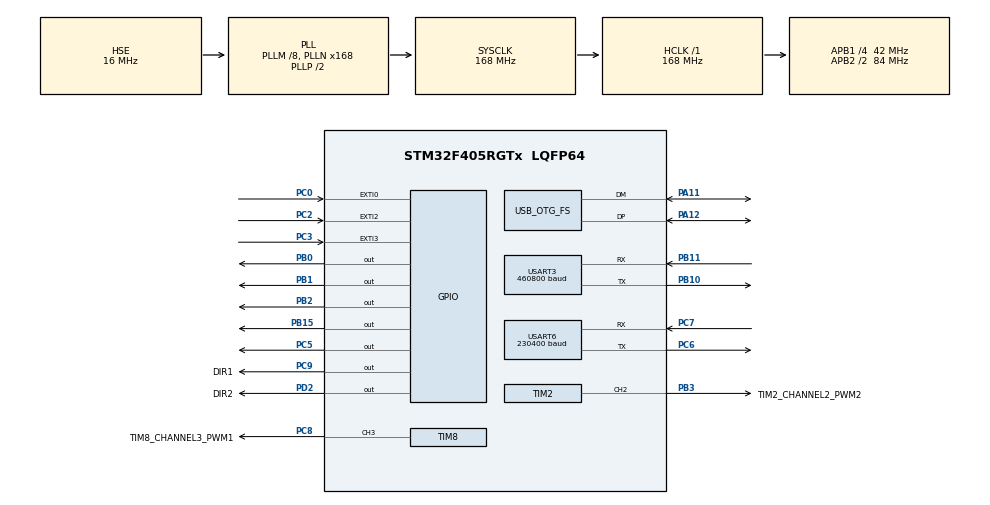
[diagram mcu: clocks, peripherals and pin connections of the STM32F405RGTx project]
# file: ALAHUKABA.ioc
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Dma.Request0=USART3_RX
Dma.Request1=USART3_TX
Dma.Request2=USART6_TX
Dma.Request3=USART6_RX
Dma.USART3_RX.0.Direction=DMA_PERIPH_TO_MEMORY
Dma.USART3_RX.0.FIFOMode=DMA_FIFOMODE_DISABLE
Dma.USART3_RX.0.Instance=DMA1_Stream1
Dma.USART3_RX.0.MemDataAlignment=DMA_MDATAALIGN_BYTE
Dma.USART3_RX.0.MemInc=DMA_MINC_ENABLE
Dma.USART3_RX.0.Mode=DMA_NORMAL
Dma.USART3_RX.0.PeriphDataAlignment=DMA_PDATAALIGN_BYTE
Dma.USART3_RX.0.PeriphInc=DMA_PINC_DISABLE
Dma.USART3_RX.0.Priority=DMA_PRIORITY_LOW
Dma.USART3_TX.1.Direction=DMA_MEMORY_TO_PERIPH
Dma.USART3_TX.1.FIFOMode=DMA_FIFOMODE_DISABLE
Dma.USART3_TX.1.Instance=DMA1_Stream3
Dma.USART3_TX.1.MemDataAlignment=DMA_MDATAALIGN_BYTE
Dma.USART3_TX.1.MemInc=DMA_MINC_ENABLE
Dma.USART3_TX.1.Mode=DMA_NORMAL
Dma.USART3_TX.1.PeriphDataAlignment=DMA_PDATAALIGN_BYTE
Dma.USART3_TX.1.PeriphInc=DMA_PINC_DISABLE
Dma.USART3_TX.1.Priority=DMA_PRIORITY_LOW
Dma.USART6_RX.3.Direction=DMA_PERIPH_TO_MEMORY
Dma.USART6_RX.3.FIFOMode=DMA_FIFOMODE_DISABLE
Dma.USART6_RX.3.Instance=DMA2_Stream1
Dma.USART6_RX.3.MemDataAlignment=DMA_MDATAALIGN_BYTE
Dma.USART6_RX.3.MemInc=DMA_MINC_ENABLE
Dma.USART6_RX.3.Mode=DMA_NORMAL
Dma.USART6_RX.3.PeriphDataAlignment=DMA_PDATAALIGN_BYTE
Dma.USART6_RX.3.PeriphInc=DMA_PINC_DISABLE
Dma.USART6_RX.3.Priority=DMA_PRIORITY_LOW
Dma.USART6_TX.2.Direction=DMA_MEMORY_TO_PERIPH
Dma.USART6_TX.2.FIFOMode=DMA_FIFOMODE_DISABLE
Dma.USART6_TX.2.Instance=DMA2_Stream6
Dma.USART6_TX.2.MemDataAlignment=DMA_MDATAALIGN_BYTE
Dma.USART6_TX.2.MemInc=DMA_MINC_ENABLE
Dma.USART6_TX.2.Mode=DMA_NORMAL
Dma.USART6_TX.2.PeriphDataAlignment=DMA_PDATAALIGN_BYTE
Dma.USART6_TX.2.PeriphInc=DMA_PINC_DISABLE
Dma.USART6_TX.2.Priority=DMA_PRIORITY_LOW
Mcu.Family=STM32F4
Mcu.Name=STM32F405RGTx
Mcu.Package=LQFP64
NVIC.DMA1_Stream1_IRQn=true\:0\:0\:false\:false\:true\:false\:true\:true
NVIC.DMA1_Stream3_IRQn=true\:0\:0\:false\:false\:true\:false\:true\:true
NVIC.DMA2_Stream1_IRQn=true\:0\:0\:false\:false\:true\:false\:true\:true
NVIC.DMA2_Stream6_IRQn=true\:0\:0\:false\:false\:true\:false\:true\:true
NVIC.EXTI0_IRQn=true\:0\:0\:false\:false\:true\:true\:true\:true
NVIC.EXTI2_IRQn=true\:0\:0\:false\:false\:true\:true\:true\:true
NVIC.EXTI3_IRQn=true\:0\:0\:false\:false\:true\:true\:true\:true
NVIC.OTG_FS_IRQn=true\:0\:0\:false\:false\:true\:false\:true\:true
NVIC.PriorityGroup=NVIC_PRIORITYGROUP_4
NVIC.TIM6_DAC_IRQn=true\:0\:0\:false\:false\:true\:true\:true\:true
NVIC.USART6_IRQn=true\:0\:0\:false\:false\:true\:true\:true\:true
PA11.Mode=Device_Only
PA11.Signal=USB_OTG_FS_DM
PA12.Mode=Device_Only
PA12.Signal=USB_OTG_FS_DP
PA13.Mode=Serial_Wire
PA13.Signal=SYS_JTMS-SWDIO
PA14.Mode=Serial_Wire
PA14.Signal=SYS_JTCK-SWCLK
PB0.Signal=GPIO_Output
PB1.Signal=GPIO_Output
PB10.Mode=Asynchronous
PB10.Signal=USART3_TX
PB11.Mode=Asynchronous
PB11.Signal=USART3_RX
PB15.Signal=GPIO_Output
PB2.Signal=GPIO_Output
PB3.GPIO_Label=TIM2_CHANNEL2_PWM2
PB3.Signal=S_TIM2_CH2
PC0.GPIO_ModeDefaultEXTI=GPIO_MODE_IT_RISING_FALLING
PC0.Signal=GPXTI0
PC2.GPIO_ModeDefaultEXTI=GPIO_MODE_IT_RISING_FALLING
PC2.Signal=GPXTI2
PC3.GPIO_ModeDefaultEXTI=GPIO_MODE_IT_RISING_FALLING
PC3.Signal=GPXTI3
PC5.Signal=GPIO_Output
PC6.Mode=Asynchronous
PC6.Signal=USART6_TX
PC7.Mode=Asynchronous
PC7.Signal=USART6_RX
PC8.GPIO_Label=TIM8_CHANNEL3_PWM1
PC8.Signal=S_TIM8_CH3
PC9.GPIO_Label=DIR1
PC9.Signal=GPIO_Output
PD2.GPIO_Label=DIR2
PD2.Signal=GPIO_Output
PH0-OSC_IN.Mode=HSE-External-Oscillator
PH0-OSC_IN.Signal=RCC_OSC_IN
PH1-OSC_OUT.Mode=HSE-External-Oscillator
PH1-OSC_OUT.Signal=RCC_OSC_OUT
ProjectManager.HeapSize=0x200
ProjectManager.StackSize=0x400
ProjectManager.TargetToolchain=STM32CubeIDE
RCC.48MHZClocksFreq_Value=48000000
RCC.AHBFreq_Value=168000000
RCC.APB1CLKDivider=RCC_HCLK_DIV4
RCC.APB1Freq_Value=42000000
RCC.APB1TimFreq_Value=84000000
RCC.APB2CLKDivider=RCC_HCLK_DIV2
RCC.APB2Freq_Value=84000000
RCC.APB2TimFreq_Value=168000000
RCC.CortexFreq_Value=168000000
RCC.HCLKFreq_Value=168000000
RCC.HSE_VALUE=16000000
RCC.HSI_VALUE=16000000
RCC.LSE_VALUE=32768
RCC.PLLM=8
RCC.PLLN=168
RCC.PLLQ=7
RCC.SYSCLKFreq_VALUE=168000000
RCC.SYSCLKSource=RCC_SYSCLKSOURCE_PLLCLK
RCC.VCOOutputFreq_Value=336000000
SH.S_TIM2_CH2.0=TIM2_CH2,PWM Generation2 CH2
SH.S_TIM8_CH3.0=TIM8_CH3,PWM Generation3 CH3
TIM2.Channel-PWM\ Generation2\ CH2=TIM_CHANNEL_2
TIM2.Period=4200
TIM6.Period=8399
TIM6.Prescaler=99
TIM8.Channel-PWM\ Generation3\ CH3=TIM_CHANNEL_3
TIM8.Period=8400
USART3.BaudRate=460800
USART3.VirtualMode=VM_ASYNC
USART6.BaudRate=230400
USART6.VirtualMode=VM_ASYNC
USB_DEVICE.CLASS_NAME_FS=CDC
USB_DEVICE.VirtualMode-CDC_FS=Cdc
USB_DEVICE.VirtualModeFS=Cdc_FS
USB_OTG_FS.VirtualMode=Device_Only
VP_TIM6_VS_ClockSourceINT.Mode=Enable_Timer
VP_USB_DEVICE_VS_USB_DEVICE_CDC_FS.Mode=CDC_FS
board=custom

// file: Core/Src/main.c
/* USER CODE BEGIN Header */
/**
  ******************************************************************************
  * @file           : main.c
  * @brief          : Main program body
  ******************************************************************************
  * @attention
  *
  * Copyright (c) 2024 STMicroelectronics.
  * All rights reserved.
  *
  * This software is licensed under terms that can be found in the LICENSE file
  * in the root directory of this software component.
  * If no LICENSE file comes with this software, it is provided AS-IS.
  *
  ******************************************************************************
  */
/* USER CODE END Header */
#include "main.h"
#include "usb_device.h"

/* USER CODE BEGIN Includes */
#include <math.h>
/* USER CODE END Includes */

/* USER CODE BEGIN PD */
#define pi 3.14159265
#define f0 0.1
#define f1 10
#define f_sample 100
#define T_run 20
typedef union {
  float floatValue;
  uint8_t byteArray[4];
} FloatByteArray;

 uint8_t uart_buff[100];
BPNN_PID_PARAMETER_Struct YAW_BPNN;
BPNN_PID_PARAMETER_Struct PITCH_BPNN;
volatile uint32_t limit_pitch=0;
volatile FloatByteArray PWM;
volatile FloatByteArray SPEED;
volatile FloatByteArray POSITION;
volatile FloatByteArray omegaX;
volatile FloatByteArray omegaY;
volatile FloatByteArray omegaZ;
volatile FloatByteArray ROLL;
volatile FloatByteArray PITCH;
volatile FloatByteArray YAW;
volatile FloatByteArray KP;
volatile FloatByteArray KI;
volatile FloatByteArray KD;
volatile FloatByteArray CAMERA_YAW_ERR;
volatile 	float value_output[9];
 uint8_t trans_array[34];
volatile double_t k=0;
volatile  double sweap=0;

volatile float pitch_SpeedSet, pitch_PositionSet;
volatile float pitch_ek, pitch_ek_1, pitch_ek_2, pitch_uk, pitch_uk_1, pitch_Kp=0.000285, pitch_Ki=0.08, pitch_Kd;
volatile float pitch_cam_ek, pitch_cam_ek_1, pitch_cam_ek_2, pitch_cam_uk, pitch_cam_uk_1, pitch_cam_Kp=1.5, pitch_cam_Ki=0.0000010, pitch_cam_Kd= 0.0000001;

volatile float yaw_SpeedSet, PositionSet;
volatile float yaw_ek, yaw_ek_1, yaw_ek_2, yaw_uk, yaw_uk_1, yaw_Kp=0.000285, yaw_Ki=0.08, yaw_Kd;
volatile float yaw_cam_ek, yaw_cam_ek_1, yaw_cam_ek_2, yaw_cam_uk, yaw_cam_uk_1, yaw_cam_Kp=1.4, yaw_cam_Ki=0.0000001, yaw_cam_Kd= 0.000000001;

volatile float ek, ek_1, ek_2, uk, uk_1, Kp=12, Ki=0, Kd=0.05;

uint8_t SPEED_CONTROL = 0;
uint8_t TRACKING_CONTROL = 0;
uint8_t PID_CONTROL = 0;
uint8_t	BPNN_CONTROL = 1;
float T = 0.002;
uint8_t EN_ON = 0;
uint8_t count_PD = 0;
int16_t pitch_err,yaw_err;

uint8_t step_counter = 0;
double prev_val,val = 0;
float speed_set_prev_1 = 0;
float speed_set_prev_2 = 0;

//float y_prev = 0;
/* USER CODE END PD */

TIM_HandleTypeDef htim2;
TIM_HandleTypeDef htim6;
TIM_HandleTypeDef htim8;

UART_HandleTypeDef huart3;
UART_HandleTypeDef huart6;
DMA_HandleTypeDef hdma_usart3_rx;
DMA_HandleTypeDef hdma_usart3_tx;
DMA_HandleTypeDef hdma_usart6_tx;
DMA_HandleTypeDef hdma_usart6_rx;

void SystemClock_Config(void);
static void MX_GPIO_Init(void);
static void MX_DMA_Init(void);
static void MX_USART3_UART_Init(void);
static void MX_TIM8_Init(void);
static void MX_USART6_UART_Init(void);
static void MX_TIM6_Init(void);
static void MX_TIM2_Init(void);

/* USER CODE BEGIN 0 */
float lowpass_filter(float u,uint8_t Axis) {
	float ye;
	if(Axis ==1)
	{
    ye = (2.5 / 3.5) * speed_set_prev_1 + (1.0 / 3.5) * u;
//    float ye = (3.0 / 4.0) * speed_set_prev + (1.0 / 4.0) * u;
//    ye = (0.85) * speed_set_prev_1 + (0.15) * u;
    speed_set_prev_1 = ye;
	}
	else
	{
	ye = (2.5 / 3.5) * speed_set_prev_2 + (1.0 / 3.5) * u;
//    float ye = (3.0 / 4.0) * speed_set_prev + (1.0 / 4.0) * u;
//    ye = (0.85) * speed_set_prev_2 + (0.15) * u;
	speed_set_prev_2 = ye;
	}
    return ye;
}

char ngu[] = "ALAHU";
void MOTORDRIVE(uint16_t MOTOR,float PWM,uint8_t DIRECT);
void USB_HANDLER(uint8_t *buff,uint32_t *len)
{
	TRACKING_CONTROL =1;
	yaw_err = (int16_t)(buff[2] << 8 | buff[1]);
	pitch_err = (int16_t)(buff[4] << 8 | buff[3]);
//	HAL_GPIO_TogglePin(GPIOB, GPIO_PIN_15);
}
//void HAL_TIM_PeriodElapsedCallback(TIM_HandleTypeDef *htim)
//{
 //   if (htim->Instance == TIM6) // Kiểm tra nếu là timer 2
 //   {
//		HAL_GPIO_TogglePin(DIR1_GPIO_Port,DIR1_Pin);
//     	sweap = sin(2 *	pi * 0.1 * 20 * (pow(100, (double)(k) / (100 * 20)) - 1) / log(100));
//      	PWM.floatValue = sweap;
//      	k=k+1;
////		if(k == 2001)
////		{
////			MOTORDRIVE(TIM8_CHANNEL3_PWM1_Pin,0,0);
////			//HAL_TIM_Base_Stop(&htim6);
////		}
////		else if(sweap>=0)
////		{
////			MOTORDRIVE(TIM8_CHANNEL3_PWM1_Pin,sweap,1);
////		}
////		else if (sweap<0)
////		{
////			MOTORDRIVE(TIM8_CHANNEL3_PWM1_Pin,(-sweap),0);
////		}
//		HAL_GPIO_TogglePin(DIR1_GPIO_Port,DIR1_Pin);
//	}
//	HAL_UART_Transmit(&huart6, PWM.byteArray,4,100);
//}

void HAL_UARTEx_RxEventCallback(UART_HandleTypeDef *huart, uint16_t Size)
{
	int32_t value_raw;
	float value_convert;
//	HAL_GPIO_WritePin(GPIOB, GPIO_PIN_15, GPIO_PIN_SET);
	  if (huart->Instance == USART3)
	  {
		  if(uart_buff[0] == 10)
		  {
			  if(uart_buff[70] == 13)
			  {
				  for (uint8_t byte_counter = 1; byte_counter <= 9; byte_counter ++)
				  {
					  value_raw 	= 0;
					  value_convert = 0;
					  if (byte_counter <= 6)
					  {
						  uint8_t start_position = (byte_counter - 1) * 8 + 1;
						  uint8_t stop_position = start_position + 6;
						  int8_t sign_flag = 0;
						  if (uart_buff[start_position] == 45)
						  {
							  sign_flag = -1;
						  }
						  else
						  {
							  sign_flag = 1;
						  }
						  start_position ++;
						  while (start_position <= stop_position)
						  {
							  value_raw = value_raw * 10 + (uart_buff[start_position] - 48);
							  start_position ++;
						  }
						  value_convert = value_raw * sign_flag;
						  value_convert = value_convert * 0.001;
					  }
					  else
					  {
						  uint8_t start_position = (byte_counter - 1) * 7 + 1 + 6;
						  uint8_t stop_position = start_position + 5;
						  int8_t sign_flag = 0;
						  if (uart_buff[start_position] == 45)
						  {
							  sign_flag = -1;
						  }
						  else
						  {
							  sign_flag = 1;
						  }
						  start_position ++;
						  while (start_position <= stop_position)
						  {
							  value_raw = value_raw * 10 + (uart_buff[start_position] - 48);
							  start_position ++;
						  }
						  value_convert = value_raw * sign_flag;
						  value_convert = value_convert * 0.001;
					  }
					  value_output[byte_counter - 1] = value_convert;
				  }
				  SPEED_CONTROL = 1;
				  EN_ON =1;
			  }
			  else
			  {
				  EN_ON =0;
			  }
		  }
		  else
		  {
			  EN_ON =0;
		  }
	  }

	  ROLL.floatValue=value_output[0];
	  PITCH.floatValue=value_output[1];
	  YAW.floatValue=value_output[2];
	  omegaX.floatValue=value_output[3];
	  omegaY.floatValue=value_output[4];
	  omegaZ.floatValue=value_output[5];

//	  PID_CONTROL = 1;
	HAL_UARTEx_ReceiveToIdle_DMA(&huart3, uart_buff, 71);
	__HAL_DMA_DISABLE_IT(&hdma_usart3_rx,DMA_IT_HT);

}

void MOTORDRIVE(uint16_t MOTOR,float PWM,uint8_t DIRECT)
{
	/*nho xu ly de khi chay toi han thi dung dong co lai*/
	if(MOTOR == TIM8_CHANNEL3_PWM1_Pin)
	{
		__HAL_TIM_SET_COMPARE(&htim8,TIM_CHANNEL_3,(uint16_t)(PWM*8400));
		HAL_GPIO_WritePin(DIR1_GPIO_Port,DIR1_Pin,DIRECT);
	}
	if(MOTOR == TIM2_CHANNEL2_PWM2_Pin)
	{
		__HAL_TIM_SET_COMPARE(&htim2,TIM_CHANNEL_2,(uint16_t)(PWM*4200));
		HAL_GPIO_WritePin(DIR2_GPIO_Port,DIR2_Pin,DIRECT);
	}
}
//
//void HAL_GPIO_EXTI_Callback(uint16_t GPIO_Pin)
//{
//	/*test cam bien gimbal*/
//	switch(GPIO_Pin)
//	{
//		case GPIO_PIN_0://home
//		{
//			if(HAL_GPIO_ReadPin(GPIOC,GPIO_PIN_0))
//			{
//				HAL_GPIO_WritePin(GPIOC, GPIO_PIN_5, GPIO_PIN_SET);//GREEN
//			}
//			else
//			{
//				HAL_GPIO_WritePin(GPIOC, GPIO_PIN_5, GPIO_PIN_RESET);
//			}
//		}
//		case GPIO_PIN_2://doc
//		{
//			if(HAL_GPIO_ReadPin(GPIOC,GPIO_PIN_2))
//			{
//				HAL_GPIO_WritePin(GPIOB, GPIO_PIN_0, GPIO_PIN_SET);//ORGRANGE
//				MOTORDRIVE(TIM8_CHANNEL3_PWM1_Pin,0,1);
//				limit_pitch =1;
//			}
//			else
//			{
//				HAL_GPIO_WritePin(GPIOB, GPIO_PIN_0, GPIO_PIN_RESET);
//			}
//		}
//		case GPIO_PIN_3://ngang
//		{
//			if(HAL_GPIO_ReadPin(GPIOC,GPIO_PIN_3))
//			{
//				HAL_GPIO_WritePin(GPIOB, GPIO_PIN_1, GPIO_PIN_SET);//RED
//				MOTORDRIVE(TIM8_CHANNEL3_PWM1_Pin,0,1);
//				limit_pitch =1;
//			}
//			else
//			{
//				HAL_GPIO_WritePin(GPIOB, GPIO_PIN_1, GPIO_PIN_RESET);
//			}
//		}
//		default: break;
//	}
//}
/* USER CODE END 0 */

int main(void)
{

  /* MCU Configuration--------------------------------------------------------*/

  /* Reset of all peripherals, Initializes the Flash interface and the Systick. */
  HAL_Init();

  /* Configure the system clock */
  SystemClock_Config();

  /* Initialize all configured peripherals */
  MX_GPIO_Init();
  MX_DMA_Init();
  MX_USART3_UART_Init();
  MX_TIM8_Init();
  MX_USART6_UART_Init();
  MX_TIM6_Init();
  MX_USB_DEVICE_Init();
  MX_TIM2_Init();
  /* USER CODE BEGIN 2 */
  HAL_TIM_PWM_Start(&htim8, TIM_CHANNEL_3);
  HAL_TIM_PWM_Start(&htim2, TIM_CHANNEL_2);
  BPNN_INIT(&YAW_BPNN,1);
  BPNN_INIT(&PITCH_BPNN,0);
//  MOTORDRIVE(TIM8_CHANNEL3_PWM1_Pin,0.1,0);
  uint8_t HAHA[1];
  HAHA[0]=0;
  HAL_TIM_Base_Start_IT(&htim6);
  while(HAHA[0]!=13)
  {
	  HAL_UART_Receive(&huart3, HAHA, 1, 10);
  }
  HAL_UARTEx_ReceiveToIdle_DMA(&huart3, uart_buff, 71);
	__HAL_DMA_DISABLE_IT(&hdma_usart3_rx,DMA_IT_HT);
//	EN_ON=1;
//	HAL_UART_Transmit_DMA(&huart6, "$BRATE 2",8 );
  /* USER CODE END 2 */

  /* Infinite loop */
  /* USER CODE BEGIN WHILE */
	while(1)
	{

	  if(BPNN_CONTROL)
	  {
	  if(TRACKING_CONTROL)
	  {
			if(EN_ON)
			{
				yaw_cam_ek_2 	= yaw_cam_ek_1;
				yaw_cam_ek_1 	= yaw_cam_ek;
				yaw_cam_ek 		= yaw_err*0.1 ;
				yaw_cam_uk_1	= yaw_cam_uk;
				yaw_cam_uk		= yaw_cam_uk_1 + yaw_cam_Kp*(yaw_cam_ek - yaw_cam_ek_1) + yaw_cam_Ki*(T/2)*(yaw_cam_ek + yaw_cam_ek_1) + yaw_cam_Kd/T*(yaw_cam_ek - 2*yaw_cam_ek_1 + yaw_cam_ek_2);
/*
				if(yaw_cam_uk >=5)
				{
					yaw_cam_uk =5;
				}
				if(yaw_cam_uk <=-5)
				{
					yaw_cam_uk =-5;
				}
*/
				pitch_cam_ek_2 		= pitch_cam_ek_1;
				pitch_cam_ek_1 		= pitch_cam_ek;
				pitch_cam_ek 		= pitch_err*0.1;
				pitch_cam_uk_1		= pitch_cam_uk;
				pitch_cam_uk		= pitch_cam_uk_1 + pitch_cam_Kp*(pitch_cam_ek - pitch_cam_ek_1) + pitch_cam_Ki*(T/2)*(pitch_cam_ek + pitch_cam_ek_1) + pitch_cam_Kd/T*(pitch_cam_ek - 2*pitch_cam_ek_1 + pitch_cam_ek_2);

			}
	  }
	  else{
		  	  yaw_cam_uk   = 0;
		      yaw_cam_uk_1 = 0;
		      yaw_cam_ek   = 0;
		      yaw_cam_ek_1 = 0;
		      yaw_cam_ek_2 = 0;

		      pitch_cam_uk   = 0;
		      pitch_cam_uk_1 = 0;
		      pitch_cam_ek   = 0;
		      pitch_cam_ek_1 = 0;
		      pitch_cam_ek_2 = 0;
	  	  }

	  if(SPEED_CONTROL==1)
	  {
		  HAL_GPIO_TogglePin(GPIOB, GPIO_PIN_15);
		trans_array[0] = 10;
		trans_array[1] = omegaY.byteArray[0];
		trans_array[2] = omegaY.byteArray[1];
		trans_array[3] = omegaY.byteArray[2];
		trans_array[4] = omegaY.byteArray[3];

//		trans_array[17] = PITCH.byteArray[0];
//		trans_array[18] = PITCH.byteArray[1];
//		trans_array[19] = PITCH.byteArray[2];
//		trans_array[20] = PITCH.byteArray[3];

//		trans_array[1] = omegaZ.byteArray[0];
//		trans_array[2] = omegaZ.byteArray[1];
//		trans_array[3] = omegaZ.byteArray[2];
//		trans_array[4] = omegaZ.byteArray[3];

//		CAMERA_YAW_ERR.floatValue = yaw_err;

//		trans_array[17] = YAW.byteArray[0];
//		trans_array[18] = YAW.byteArray[1];
//		trans_array[19] = YAW.byteArray[2];
//		trans_array[20] = YAW.byteArray[3];

//		trans_array[17] = CAMERA_YAW_ERR.byteArray[0];
//		trans_array[18] = CAMERA_YAW_ERR.byteArray[1];
//		trans_array[19] = CAMERA_YAW_ERR.byteArray[2];
//		trans_array[20] = CAMERA_YAW_ERR.byteArray[3];

		trans_array[33] = 13;

		// PID pitch

	//	PositionSet = 30*sin(2 *pi *k/100);
	//	PositionSet=0;
		POSITION.floatValue = pitch_err;
//		POSITION.floatValue = yaw_err;
		trans_array[13] = POSITION.byteArray[0];
		trans_array[14] = POSITION.byteArray[1];
		trans_array[15] = POSITION.byteArray[2];
		trans_array[16] = POSITION.byteArray[3];

	if(YAW.floatValue>=70)
		{
			EN_ON = 0;
		}
		if(YAW.floatValue<=-70)
		{
			EN_ON = 0;
		}
		if(PITCH.floatValue>=80)
		{
			EN_ON = 0;
		}
		if(PITCH.floatValue<=-80)
		{
			EN_ON = 0;
		}

if(EN_ON)
		{
		k=k+1;
//		if(k >=10)
//		{
//			ek_2 		= ek_1;
//			ek_1 		= ek;
//			ek 			= 0 - PITCH.floatValue;
//			uk_1		= uk;
//			uk			= uk_1 + Kp*(ek - ek_1) + Ki*(T/2)*(ek + ek_1) + Kd/T*(ek - 2*ek_1 + ek_2);
//		k=0;
//		}

//		pitch_SpeedSet = 10*sin(2*pi*k*0.002);
/*		val = sin(2*pi*k*0.004);
		if (prev_val < 0 && val >= 0)
		{
			step_counter = (step_counter + 1) % 4;  // 4 pha: 0 → 1 → 2 → 3 → 0 ...
		}

		prev_val = val;
		float temp_speed_set = 0;

		// Gán giá trị theo pha
		if (step_counter == 0)
			temp_speed_set = 30;
		else if (step_counter == 1)
			temp_speed_set = 0;
		else if (step_counter == 2)
			temp_speed_set = -30;
		else
			temp_speed_set = 0;
*/

//		pitch_SpeedSet = lowpass_filter(temp_speed_set,0);
		pitch_SpeedSet = lowpass_filter(pitch_cam_uk,0);
//		pitch_SpeedSet= val;
//		pitch_SpeedSet = uk;

/*		SPEED.floatValue = pitch_SpeedSet;
		trans_array[9] = SPEED.byteArray[0];
		trans_array[10] = SPEED.byteArray[1];
		trans_array[11] = SPEED.byteArray[2];
		trans_array[12] = SPEED.byteArray[3];
*/
//		float filtered_omegaY = lowpass_filter(omegaY.floatValue, 0);
		PITCH_BPNN.BP.y[1]=PITCH_BPNN.BP.y[0];
		PITCH_BPNN.BP.y[0]=omegaY.floatValue*pi/180;

		PITCH_BPNN.PID.u[1]=PITCH_BPNN.PID.u[0];

		PITCH_BPNN.In.e[2]=PITCH_BPNN.In.e[1];
		PITCH_BPNN.In.e[1]=PITCH_BPNN.In.e[0];
		PITCH_BPNN.In.e[0]=pitch_SpeedSet*pi/180-omegaY.floatValue*pi/180;

		BPNN_PID_Forward_Propagation(&PITCH_BPNN,0);
		BPNN_PID_Back_Propagation(&PITCH_BPNN);
		}

	if(EN_ON)
		{
		k=k+1;
//		if(k >=10)
//		{
//			ek_2 		= ek_1;
//			ek_1 		= ek;
//			ek 			= 0 - YAW.floatValue;
//			uk_1		= uk;
//			uk			= uk_1 + Kp*(ek - ek_1) + Ki*(T/2)*(ek + ek_1) + Kd/T*(ek - 2*ek_1 + ek_2);
//			k=0;
//		}

		//	p_uk = 50*sin(2*pi*k*0.002);

//		yaw_SpeedSet=10.0f;

//		yaw_SpeedSet = 60*sin(2*pi*k*0.002);
/*		val = sin(2*pi*k*0.002);
		if (prev_val < 0 && val >= 0)
		{
			step_counter = (step_counter + 1) % 4;  // 4 pha: 0 → 1 → 2 → 3 → 0 ...
		}

		prev_val = val;
		float temp_speed_set = 0;

//		// Gán giá trị theo pha
		if (step_counter == 0)
			temp_speed_set = 60;
		else if (step_counter == 1)
			temp_speed_set = 0;
		else if (step_counter == 2)
			temp_speed_set = -60;
		else
			temp_speed_set = 0;
//
//			yaw_SpeedSet = yaw_cam_uk;
		yaw_SpeedSet = lowpass_filter(temp_speed_set,1);
//		yaw_SpeedSet= val;
//		yaw_SpeedSet = uk;
 *
 */
		yaw_SpeedSet = lowpass_filter(yaw_cam_uk,1);
/*		SPEED.floatValue = yaw_SpeedSet;
		trans_array[9] = SPEED.byteArray[0];
		trans_array[10] = SPEED.byteArray[1];
		trans_array[11] = SPEED.byteArray[2];
		trans_array[12] = SPEED.byteArray[3];
*/

		YAW_BPNN.BP.y[1]=YAW_BPNN.BP.y[0];
		YAW_BPNN.BP.y[0]=omegaZ.floatValue*pi/180;

		YAW_BPNN.PID.u[1]=YAW_BPNN.PID.u[0];

		YAW_BPNN.In.e[2]=YAW_BPNN.In.e[1];
		YAW_BPNN.In.e[1]=YAW_BPNN.In.e[0];
		YAW_BPNN.In.e[0]=yaw_SpeedSet*pi/180-omegaZ.floatValue*pi/180;

		BPNN_PID_Forward_Propagation(&YAW_BPNN,1);
		BPNN_PID_Back_Propagation(&YAW_BPNN);
		}

		PWM.floatValue =	PITCH_BPNN.PID.u[0];
		trans_array[5] = PWM.byteArray[0];
		trans_array[6] = PWM.byteArray[1];
		trans_array[7] = PWM.byteArray[2];
		trans_array[8] = PWM.byteArray[3];

		KP.floatValue 	=PITCH_BPNN.Out.o_out[0];
		trans_array[21] = KP.byteArray[0];
		trans_array[22] = KP.byteArray[1];
		trans_array[23] = KP.byteArray[2];
		trans_array[24] = KP.byteArray[3];

		KI.floatValue =PITCH_BPNN.Out.o_out[1];
		trans_array[25] = KI.byteArray[0];
		trans_array[26] = KI.byteArray[1];
		trans_array[27] = KI.byteArray[2];
		trans_array[28] = KI.byteArray[3];

		KD.floatValue =PITCH_BPNN.Out.o_out[2];
		trans_array[29] = KD.byteArray[0];
		trans_array[30] = KD.byteArray[1];
		trans_array[31] = KD.byteArray[2];
		trans_array[32] = KD.byteArray[3];
		if(EN_ON)
		{
			if(YAW_BPNN.PID.u[0]>=0)
			{
				MOTORDRIVE(TIM8_CHANNEL3_PWM1_Pin,YAW_BPNN.PID.u[0],1);
			}
			else if (YAW_BPNN.PID.u[0]<0)
			{
				MOTORDRIVE(TIM8_CHANNEL3_PWM1_Pin,(-YAW_BPNN.PID.u[0]),0);
			}

			if(PITCH_BPNN.PID.u[0]>=0)
			{
				MOTORDRIVE(TIM2_CHANNEL2_PWM2_Pin,PITCH_BPNN.PID.u[0],1);
			}
			else if (PITCH_BPNN.PID.u[0]<0)
			{
				MOTORDRIVE(TIM2_CHANNEL2_PWM2_Pin,(-PITCH_BPNN.PID.u[0]),0);
			}
			HAL_UART_Transmit_DMA(&huart6, trans_array, 34);

		}
		else
		{
			MOTORDRIVE(TIM8_CHANNEL3_PWM1_Pin,0,1);
			MOTORDRIVE(TIM2_CHANNEL2_PWM2_Pin,0,1);
		}
		SPEED_CONTROL = 0;
		HAL_GPIO_TogglePin(GPIOB, GPIO_PIN_15);
	  }
	}

    /* USER CODE END WHILE */

  }
}

void SystemClock_Config(void)
{
  RCC_OscInitTypeDef RCC_OscInitStruct = {0};
  RCC_ClkInitTypeDef RCC_ClkInitStruct = {0};

  /** Configure the main internal regulator output voltage
  */
  __HAL_RCC_PWR_CLK_ENABLE();
  __HAL_PWR_VOLTAGESCALING_CONFIG(PWR_REGULATOR_VOLTAGE_SCALE1);

  /** Initializes the RCC Oscillators according to the specified parameters
  * in the RCC_OscInitTypeDef structure.
  */
  RCC_OscInitStruct.OscillatorType = RCC_OSCILLATORTYPE_HSE;
  RCC_OscInitStruct.HSEState = RCC_HSE_ON;
  RCC_OscInitStruct.PLL.PLLState = RCC_PLL_ON;
  RCC_OscInitStruct.PLL.PLLSource = RCC_PLLSOURCE_HSE;
  RCC_OscInitStruct.PLL.PLLM = 8;
  RCC_OscInitStruct.PLL.PLLN = 168;
  RCC_OscInitStruct.PLL.PLLP = RCC_PLLP_DIV2;
  RCC_OscInitStruct.PLL.PLLQ = 7;
  if (HAL_RCC_OscConfig(&RCC_OscInitStruct) != HAL_OK)
  {
    Error_Handler();
  }

  /** Initializes the CPU, AHB and APB buses clocks
  */
  RCC_ClkInitStruct.ClockType = RCC_CLOCKTYPE_HCLK|RCC_CLOCKTYPE_SYSCLK
                              |RCC_CLOCKTYPE_PCLK1|RCC_CLOCKTYPE_PCLK2;
  RCC_ClkInitStruct.SYSCLKSource = RCC_SYSCLKSOURCE_PLLCLK;
  RCC_ClkInitStruct.AHBCLKDivider = RCC_SYSCLK_DIV1;
  RCC_ClkInitStruct.APB1CLKDivider = RCC_HCLK_DIV4;
  RCC_ClkInitStruct.APB2CLKDivider = RCC_HCLK_DIV2;

  if (HAL_RCC_ClockConfig(&RCC_ClkInitStruct, FLASH_LATENCY_5) != HAL_OK)
  {
    Error_Handler();
  }
}

static void MX_TIM2_Init(void)
{

  TIM_MasterConfigTypeDef sMasterConfig = {0};
  TIM_OC_InitTypeDef sConfigOC = {0};

  htim2.Instance = TIM2;
  htim2.Init.Prescaler = 0;
  htim2.Init.CounterMode = TIM_COUNTERMODE_UP;
  htim2.Init.Period = 4199;
  htim2.Init.ClockDivision = TIM_CLOCKDIVISION_DIV1;
  htim2.Init.AutoReloadPreload = TIM_AUTORELOAD_PRELOAD_DISABLE;
  if (HAL_TIM_PWM_Init(&htim2) != HAL_OK)
  {
    Error_Handler();
  }
  sMasterConfig.MasterOutputTrigger = TIM_TRGO_RESET;
  sMasterConfig.MasterSlaveMode = TIM_MASTERSLAVEMODE_DISABLE;
  if (HAL_TIMEx_MasterConfigSynchronization(&htim2, &sMasterConfig) != HAL_OK)
  {
    Error_Handler();
  }
  sConfigOC.OCMode = TIM_OCMODE_PWM1;
  sConfigOC.Pulse = 0;
  sConfigOC.OCPolarity = TIM_OCPOLARITY_HIGH;
  sConfigOC.OCFastMode = TIM_OCFAST_DISABLE;
  if (HAL_TIM_PWM_ConfigChannel(&htim2, &sConfigOC, TIM_CHANNEL_2) != HAL_OK)
  {
    Error_Handler();
  }
  HAL_TIM_MspPostInit(&htim2);

}

static void MX_TIM6_Init(void)
{

  TIM_MasterConfigTypeDef sMasterConfig = {0};

  htim6.Instance = TIM6;
  htim6.Init.Prescaler = 99;
  htim6.Init.CounterMode = TIM_COUNTERMODE_UP;
  htim6.Init.Period = 8399;
  htim6.Init.AutoReloadPreload = TIM_AUTORELOAD_PRELOAD_DISABLE;
  if (HAL_TIM_Base_Init(&htim6) != HAL_OK)
  {
    Error_Handler();
  }
  sMasterConfig.MasterOutputTrigger = TIM_TRGO_RESET;
  sMasterConfig.MasterSlaveMode = TIM_MASTERSLAVEMODE_DISABLE;
  if (HAL_TIMEx_MasterConfigSynchronization(&htim6, &sMasterConfig) != HAL_OK)
  {
    Error_Handler();
  }

}

static void MX_TIM8_Init(void)
{

  TIM_MasterConfigTypeDef sMasterConfig = {0};
  TIM_OC_InitTypeDef sConfigOC = {0};
  TIM_BreakDeadTimeConfigTypeDef sBreakDeadTimeConfig = {0};

  htim8.Instance = TIM8;
  htim8.Init.Prescaler = 0;
  htim8.Init.CounterMode = TIM_COUNTERMODE_UP;
  htim8.Init.Period = 8400;
  htim8.Init.ClockDivision = TIM_CLOCKDIVISION_DIV1;
  htim8.Init.RepetitionCounter = 0;
  htim8.Init.AutoReloadPreload = TIM_AUTORELOAD_PRELOAD_DISABLE;
  if (HAL_TIM_PWM_Init(&htim8) != HAL_OK)
  {
    Error_Handler();
  }
  sMasterConfig.MasterOutputTrigger = TIM_TRGO_RESET;
  sMasterConfig.MasterSlaveMode = TIM_MASTERSLAVEMODE_DISABLE;
  if (HAL_TIMEx_MasterConfigSynchronization(&htim8, &sMasterConfig) != HAL_OK)
  {
    Error_Handler();
  }
  sConfigOC.OCMode = TIM_OCMODE_PWM1;
  sConfigOC.Pulse = 0;
  sConfigOC.OCPolarity = TIM_OCPOLARITY_HIGH;
  sConfigOC.OCNPolarity = TIM_OCNPOLARITY_HIGH;
  sConfigOC.OCFastMode = TIM_OCFAST_DISABLE;
  sConfigOC.OCIdleState = TIM_OCIDLESTATE_RESET;
  sConfigOC.OCNIdleState = TIM_OCNIDLESTATE_RESET;
  if (HAL_TIM_PWM_ConfigChannel(&htim8, &sConfigOC, TIM_CHANNEL_3) != HAL_OK)
  {
    Error_Handler();
  }
  sBreakDeadTimeConfig.OffStateRunMode = TIM_OSSR_DISABLE;
  sBreakDeadTimeConfig.OffStateIDLEMode = TIM_OSSI_DISABLE;
  sBreakDeadTimeConfig.LockLevel = TIM_LOCKLEVEL_OFF;
  sBreakDeadTimeConfig.DeadTime = 0;
  sBreakDeadTimeConfig.BreakState = TIM_BREAK_DISABLE;
  sBreakDeadTimeConfig.BreakPolarity = TIM_BREAKPOLARITY_HIGH;
  sBreakDeadTimeConfig.AutomaticOutput = TIM_AUTOMATICOUTPUT_DISABLE;
  if (HAL_TIMEx_ConfigBreakDeadTime(&htim8, &sBreakDeadTimeConfig) != HAL_OK)
  {
    Error_Handler();
  }
  HAL_TIM_MspPostInit(&htim8);

}

static void MX_USART3_UART_Init(void)
{

  huart3.Instance = USART3;
  huart3.Init.BaudRate = 460800;
  huart3.Init.WordLength = UART_WORDLENGTH_8B;
  huart3.Init.StopBits = UART_STOPBITS_1;
  huart3.Init.Parity = UART_PARITY_NONE;
  huart3.Init.Mode = UART_MODE_TX_RX;
  huart3.Init.HwFlowCtl = UART_HWCONTROL_NONE;
  huart3.Init.OverSampling = UART_OVERSAMPLING_16;
  if (HAL_UART_Init(&huart3) != HAL_OK)
  {
    Error_Handler();
  }

}

static void MX_USART6_UART_Init(void)
{

  huart6.Instance = USART6;
  huart6.Init.BaudRate = 230400;
  huart6.Init.WordLength = UART_WORDLENGTH_8B;
  huart6.Init.StopBits = UART_STOPBITS_1;
  huart6.Init.Parity = UART_PARITY_NONE;
  huart6.Init.Mode = UART_MODE_TX_RX;
  huart6.Init.HwFlowCtl = UART_HWCONTROL_NONE;
  huart6.Init.OverSampling = UART_OVERSAMPLING_16;
  if (HAL_UART_Init(&huart6) != HAL_OK)
  {
    Error_Handler();
  }

}

static void MX_DMA_Init(void)
{

  /* DMA controller clock enable */
  __HAL_RCC_DMA1_CLK_ENABLE();
  __HAL_RCC_DMA2_CLK_ENABLE();

  /* DMA interrupt init */
  /* DMA1_Stream1_IRQn interrupt configuration */
  HAL_NVIC_SetPriority(DMA1_Stream1_IRQn, 0, 0);
  HAL_NVIC_EnableIRQ(DMA1_Stream1_IRQn);
  /* DMA1_Stream3_IRQn interrupt configuration */
  HAL_NVIC_SetPriority(DMA1_Stream3_IRQn, 0, 0);
  HAL_NVIC_EnableIRQ(DMA1_Stream3_IRQn);
  /* DMA2_Stream1_IRQn interrupt configuration */
  HAL_NVIC_SetPriority(DMA2_Stream1_IRQn, 0, 0);
  HAL_NVIC_EnableIRQ(DMA2_Stream1_IRQn);
  /* DMA2_Stream6_IRQn interrupt configuration */
  HAL_NVIC_SetPriority(DMA2_Stream6_IRQn, 0, 0);
  HAL_NVIC_EnableIRQ(DMA2_Stream6_IRQn);

}

static void MX_GPIO_Init(void)
{
  GPIO_InitTypeDef GPIO_InitStruct = {0};

  /* GPIO Ports Clock Enable */
  __HAL_RCC_GPIOH_CLK_ENABLE();
  __HAL_RCC_GPIOC_CLK_ENABLE();
  __HAL_RCC_GPIOB_CLK_ENABLE();
  __HAL_RCC_GPIOA_CLK_ENABLE();
  __HAL_RCC_GPIOD_CLK_ENABLE();

  /*Configure GPIO pin Output Level */
  HAL_GPIO_WritePin(GPIOC, GPIO_PIN_5|DIR1_Pin, GPIO_PIN_RESET);

  /*Configure GPIO pin Output Level */
  HAL_GPIO_WritePin(GPIOB, GPIO_PIN_0|GPIO_PIN_1|GPIO_PIN_2|GPIO_PIN_15, GPIO_PIN_RESET);

  /*Configure GPIO pin Output Level */
  HAL_GPIO_WritePin(DIR2_GPIO_Port, DIR2_Pin, GPIO_PIN_RESET);

  /*Configure GPIO pins : PC0 PC2 PC3 */
  GPIO_InitStruct.Pin = GPIO_PIN_0|GPIO_PIN_2|GPIO_PIN_3;
  GPIO_InitStruct.Mode = GPIO_MODE_IT_RISING_FALLING;
  GPIO_InitStruct.Pull = GPIO_NOPULL;
  HAL_GPIO_Init(GPIOC, &GPIO_InitStruct);

  /*Configure GPIO pins : PC5 DIR1_Pin */
  GPIO_InitStruct.Pin = GPIO_PIN_5|DIR1_Pin;
  GPIO_InitStruct.Mode = GPIO_MODE_OUTPUT_PP;
  GPIO_InitStruct.Pull = GPIO_NOPULL;
  GPIO_InitStruct.Speed = GPIO_SPEED_FREQ_LOW;
  HAL_GPIO_Init(GPIOC, &GPIO_InitStruct);

  /*Configure GPIO pins : PB0 PB1 PB2 PB15 */
  GPIO_InitStruct.Pin = GPIO_PIN_0|GPIO_PIN_1|GPIO_PIN_2|GPIO_PIN_15;
  GPIO_InitStruct.Mode = GPIO_MODE_OUTPUT_PP;
  GPIO_InitStruct.Pull = GPIO_NOPULL;
  GPIO_InitStruct.Speed = GPIO_SPEED_FREQ_LOW;
  HAL_GPIO_Init(GPIOB, &GPIO_InitStruct);

  /*Configure GPIO pin : DIR2_Pin */
  GPIO_InitStruct.Pin = DIR2_Pin;
  GPIO_InitStruct.Mode = GPIO_MODE_OUTPUT_PP;
  GPIO_InitStruct.Pull = GPIO_NOPULL;
  GPIO_InitStruct.Speed = GPIO_SPEED_FREQ_LOW;
  HAL_GPIO_Init(DIR2_GPIO_Port, &GPIO_InitStruct);

  /* EXTI interrupt init*/
  HAL_NVIC_SetPriority(EXTI0_IRQn, 0, 0);
  HAL_NVIC_EnableIRQ(EXTI0_IRQn);

  HAL_NVIC_SetPriority(EXTI2_IRQn, 0, 0);
  HAL_NVIC_EnableIRQ(EXTI2_IRQn);

  HAL_NVIC_SetPriority(EXTI3_IRQn, 0, 0);
  HAL_NVIC_EnableIRQ(EXTI3_IRQn);

}

void Error_Handler(void)
{
  __disable_irq();
  while (1)
  {
  }
}
